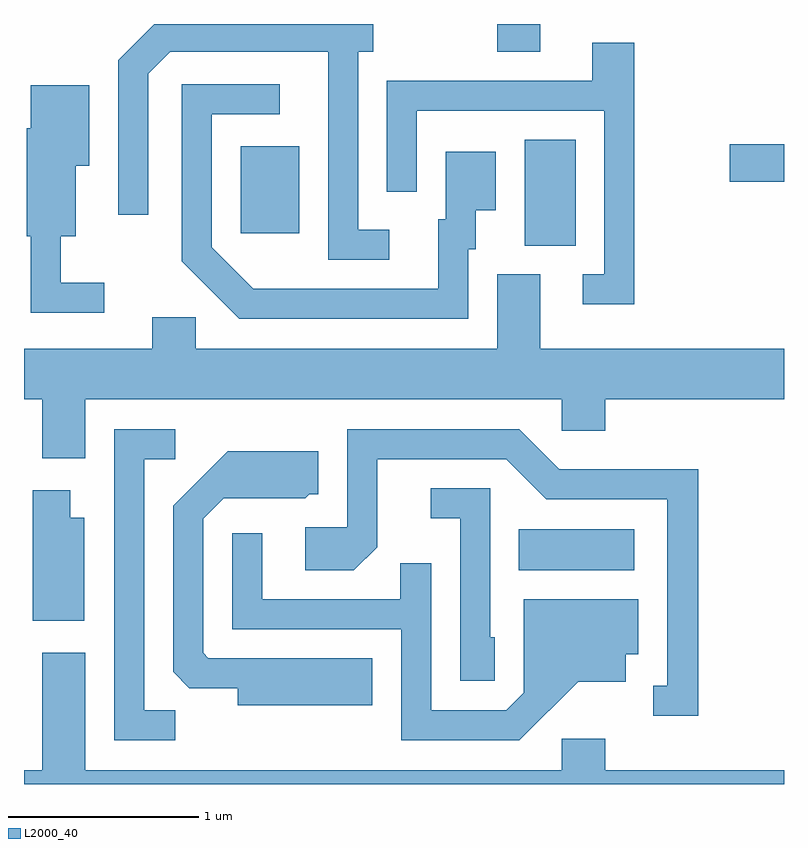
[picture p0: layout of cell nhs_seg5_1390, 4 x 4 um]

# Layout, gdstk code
import gdstk
lib = gdstk.Library(unit=1e-6, precision=1e-09)
def R(c, l, rs):  # rectangles x0, y0, x1, y1
    for r in rs: c.add(gdstk.rectangle(r[:2], r[2:], *l))
def P(c, l, *ps):  # polygons
    for p in ps: c.add(gdstk.Polygon(p, *l))
L2000_40 = (2000, 40)

nhs_seg5_1390 = lib.new_cell('nhs_seg5_1390')
R(nhs_seg5_1390, L2000_40, [(228.216,1489.196,228.824,1489.414), (228.246,1490.906,228.514,1491.464), (226.751,1490.971,227.059,1491.429), (229.326,1491.241,229.611,1491.439), (228.101,1491.926,228.329,1492.072)])
P(nhs_seg5_1390, L2000_40, [(227.533,1490.989),(227.369,1490.989),(227.369,1491.926),(227.448,1491.926),(227.448,1492.072),(226.297,1492.072),(226.106,1491.882),(226.106,1491.068),(226.264,1491.068),(226.264,1491.809),(226.382,1491.926),(227.211,1491.926),(227.211,1490.831),(227.533,1490.831)],
  [(228.824,1491.974),(228.601,1491.974),(228.601,1491.774),(227.521,1491.774),(227.521,1491.188),(227.679,1491.188),(227.679,1491.616),(228.666,1491.616),(228.666,1490.754),(228.553,1490.754),(228.553,1490.596),(228.824,1490.596)],
  [(227.949,1490.886),(227.989,1490.886),(227.989,1491.091),(228.094,1491.091),(228.094,1491.399),(227.831,1491.399),(227.831,1491.044),(227.791,1491.044),(227.791,1490.679),(226.817,1490.679),(226.599,1490.897),(226.599,1491.596),(226.958,1491.596),(226.958,1491.754),(226.441,1491.754),(226.441,1490.824),(226.744,1490.521),(227.949,1490.521)],
  [(226.033,1490.709),(225.804,1490.709),(225.804,1490.956),(225.884,1490.956),(225.884,1491.326),(225.954,1491.326),(225.954,1491.749),(225.646,1491.749),(225.646,1491.524),(225.626,1491.524),(225.626,1490.956),(225.646,1490.956),(225.646,1490.551),(226.033,1490.551)],
  [(228.101,1490.754),(228.101,1490.364),(226.514,1490.364),(226.514,1490.529),(226.286,1490.529),(226.286,1490.364),(225.611,1490.364),(225.611,1490.096),(225.706,1490.096),(225.706,1489.786),(225.934,1489.786),(225.934,1490.096),(228.441,1490.096),(228.441,1489.931),(228.669,1489.931),(228.669,1490.096),(229.611,1490.096),(229.611,1490.364),(228.329,1490.364),(228.329,1490.754)],
  [(226.408,1488.459),(226.244,1488.459),(226.244,1489.781),(226.408,1489.781),(226.408,1489.939),(226.086,1489.939),(226.086,1488.301),(226.408,1488.301)],
  [(229.159,1489.729),(228.427,1489.729),(228.217,1489.939),(227.311,1489.939),(227.311,1489.424),(227.091,1489.424),(227.091,1489.196),(227.347,1489.196),(227.469,1489.319),(227.469,1489.781),(228.149,1489.781),(228.359,1489.571),(228.996,1489.571),(228.996,1488.589),(228.923,1488.589),(228.923,1488.431),(229.159,1488.431)],
  [(227.444,1488.734),(226.582,1488.734),(226.554,1488.762),(226.554,1489.469),(226.662,1489.576),(227.092,1489.576),(227.112,1489.596),(227.159,1489.596),(227.159,1489.824),(226.684,1489.824),(226.396,1489.537),(226.396,1488.662),(226.482,1488.576),(226.736,1488.576),(226.736,1488.486),(227.444,1488.486)],
  [(228.089,1488.844),(228.064,1488.844),(228.064,1489.629),(227.753,1489.629),(227.753,1489.471),(227.906,1489.471),(227.906,1488.616),(228.089,1488.616)],
  [(225.929,1489.474),(225.854,1489.474),(225.854,1489.619),(225.656,1489.619),(225.656,1488.931),(225.929,1488.931)],
  [(228.527,1488.611),(228.779,1488.611),(228.779,1488.756),(228.844,1488.756),(228.844,1489.044),(228.241,1489.044),(228.241,1488.552),(228.149,1488.459),(227.754,1488.459),(227.754,1489.233),(227.591,1489.233),(227.591,1489.044),(226.864,1489.044),(226.864,1489.393),(226.706,1489.393),(226.706,1488.886),(227.596,1488.886),(227.596,1488.301),(228.217,1488.301)],
  [(229.611,1488.144),(228.669,1488.144),(228.669,1488.309),(228.441,1488.309),(228.441,1488.144),(225.934,1488.144),(225.934,1488.764),(225.706,1488.764),(225.706,1488.144),(225.611,1488.144),(225.611,1488.072),(229.611,1488.072)])

lib.write_gds('nhs_seg5_1390.gds')
